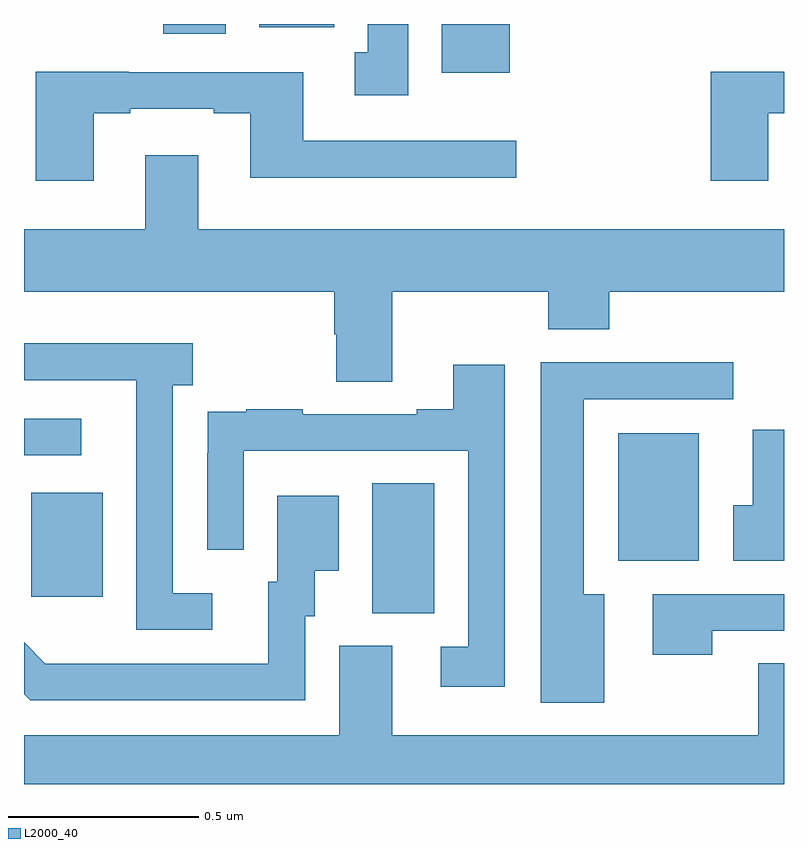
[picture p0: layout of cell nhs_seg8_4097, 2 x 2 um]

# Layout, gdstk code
import gdstk
lib = gdstk.Library(unit=1e-6, precision=1e-09)
def R(c, l, rs):  # rectangles x0, y0, x1, y1
    for r in rs: c.add(gdstk.rectangle(r[:2], r[2:], *l))
def P(c, l, *ps):  # polygons
    for p in ps: c.add(gdstk.Polygon(p, *l))
L2000_40 = (2000, 40)

nhs_seg8_4097 = lib.new_cell('nhs_seg8_4097')
R(nhs_seg8_4097, L2000_40, [(166.916,1086.349,167.08,1086.692), (166.019,1086.393,166.207,1086.667), (167.564,1086.488,167.776,1086.823), (166,1086.765,166.15,1086.861), (167.099,1087.772,167.278,1087.9), (166.367,1087.875,166.531,1087.9), (166.619,1087.892,166.816,1087.9)])
P(nhs_seg8_4097, L2000_40, [(167.011,1087.9),(166.904,1087.9),(166.904,1087.826),(166.871,1087.826),(166.871,1087.713),(167.011,1087.713)],
  [(166.183,1087.665),(166.279,1087.665),(166.279,1087.677),(166.499,1087.677),(166.499,1087.665),(166.595,1087.665),(166.595,1087.496),(167.296,1087.496),(167.296,1087.593),(166.735,1087.593),(166.735,1087.773),(166.275,1087.773),(166.275,1087.774),(166.031,1087.774),(166.031,1087.488),(166.183,1087.488)],
  [(167.959,1087.665),(168,1087.665),(168,1087.774),(167.807,1087.774),(167.807,1087.488),(167.959,1087.488)],
  [(166.969,1087.196),(167.38,1087.196),(167.38,1087.097),(167.54,1087.097),(167.54,1087.196),(168,1087.196),(168,1087.36),(166.459,1087.36),(166.459,1087.555),(166.319,1087.555),(166.319,1087.36),(166,1087.36),(166,1087.196),(166.817,1087.196),(166.817,1087.083),(166.822,1087.083),(166.822,1086.958),(166.969,1086.958)],
  [(166.495,1086.402),(166.392,1086.402),(166.392,1086.95),(166.444,1086.95),(166.444,1087.06),(166,1087.06),(166,1086.963),(166.295,1086.963),(166.295,1086.763),(166.296,1086.763),(166.296,1086.306),(166.495,1086.306)],
  [(167.527,1086.4),(167.473,1086.4),(167.473,1086.912),(167.866,1086.912),(167.866,1087.01),(167.36,1087.01),(167.36,1086.114),(167.527,1086.114)],
  [(167.265,1087.003),(167.129,1087.003),(167.129,1086.886),(167.033,1086.886),(167.033,1086.873),(166.733,1086.873),(166.733,1086.886),(166.585,1086.886),(166.585,1086.879),(166.483,1086.879),(166.483,1086.77),(166.482,1086.77),(166.482,1086.516),(166.578,1086.516),(166.578,1086.777),(167.169,1086.777),(167.169,1086.261),(167.097,1086.261),(167.097,1086.156),(167.265,1086.156)],
  [(168,1086.832),(167.918,1086.832),(167.918,1086.634),(167.867,1086.634),(167.867,1086.488),(168,1086.488)],
  [(166.74,1086.342),(166.765,1086.342),(166.765,1086.461),(166.828,1086.461),(166.828,1086.658),(166.667,1086.658),(166.667,1086.432),(166.643,1086.432),(166.643,1086.216),(166.159,1086.216),(166.159,1086.217),(166.056,1086.217),(166,1086.273),(166,1086.136),(166.016,1086.12),(166.74,1086.12)],
  [(167.811,1086.303),(168,1086.303),(168,1086.399),(167.655,1086.399),(167.655,1086.24),(167.811,1086.24)],
  [(168,1086.218),(167.932,1086.218),(167.932,1086.028),(166.969,1086.028),(166.969,1086.264),(166.829,1086.264),(166.829,1086.028),(166,1086.028),(166,1085.9),(168,1085.9)])

lib.write_gds('nhs_seg8_4097.gds')
